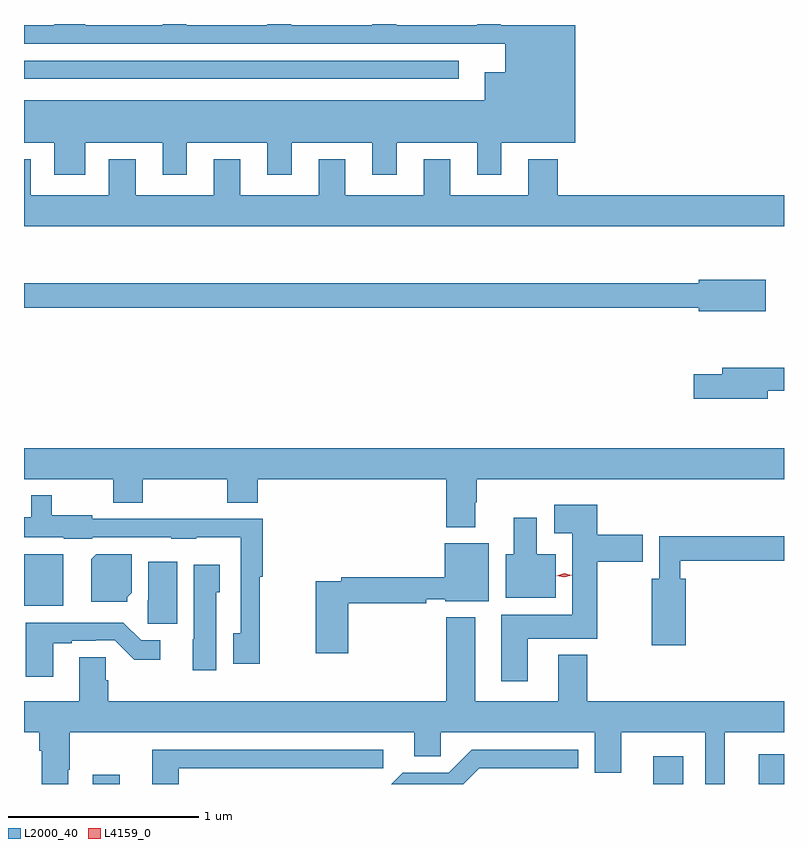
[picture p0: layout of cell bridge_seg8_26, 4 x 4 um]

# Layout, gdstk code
import gdstk
lib = gdstk.Library(unit=1e-6, precision=1e-09)
def R(c, l, rs):  # rectangles x0, y0, x1, y1
    for r in rs: c.add(gdstk.rectangle(r[:2], r[2:], *l))
def P(c, l, *ps):  # polygons
    for p in ps: c.add(gdstk.Polygon(p, *l))
L2000_40 = (2000, 40)
L4159_0 = (4159, 0)

bridge_seg8_26 = lib.new_cell('bridge_seg8_26')
R(bridge_seg8_26, L2000_40, [(887.447,1129.548,887.587,1129.597), (890.396,1129.548,890.554,1129.693), (890.951,1129.548,891.084,1129.705), (887.084,1130.486,887.29,1130.756), (887.084,1133.259,889.372,1133.355)])
P(bridge_seg8_26, L2000_40, [(887.407,1132.922),(887.813,1132.922),(887.813,1132.755),(887.941,1132.755),(887.941,1132.922),(888.365,1132.922),(888.365,1132.755),(888.493,1132.755),(888.493,1132.922),(888.917,1132.922),(888.917,1132.755),(889.045,1132.755),(889.045,1132.922),(889.469,1132.922),(889.469,1132.755),(889.597,1132.755),(889.597,1132.922),(889.984,1132.922),(889.984,1133.542),(889.594,1133.542),(889.594,1133.548),(889.469,1133.548),(889.469,1133.541),(889.042,1133.541),(889.042,1133.548),(888.917,1133.548),(888.917,1133.541),(888.49,1133.541),(888.49,1133.548),(888.365,1133.548),(888.365,1133.541),(887.938,1133.541),(887.938,1133.548),(887.813,1133.548),(887.813,1133.541),(887.407,1133.541),(887.407,1133.548),(887.243,1133.548),(887.243,1133.541),(887.084,1133.541),(887.084,1133.445),(889.616,1133.445),(889.616,1133.293),(889.508,1133.293),(889.508,1133.146),(887.084,1133.146),(887.084,1132.922),(887.243,1132.922),(887.243,1132.755),(887.407,1132.755)],
  [(891.084,1132.648),(889.892,1132.648),(889.892,1132.837),(889.739,1132.837),(889.739,1132.648),(889.327,1132.648),(889.327,1132.837),(889.187,1132.837),(889.187,1132.648),(888.775,1132.648),(888.775,1132.837),(888.635,1132.837),(888.635,1132.648),(888.223,1132.648),(888.223,1132.837),(888.083,1132.837),(888.083,1132.648),(887.671,1132.648),(887.671,1132.837),(887.531,1132.837),(887.531,1132.648),(887.119,1132.648),(887.119,1132.837),(887.084,1132.837),(887.084,1132.484),(891.084,1132.484)],
  [(890.989,1132.201),(890.636,1132.201),(890.636,1132.183),(887.084,1132.183),(887.084,1132.054),(890.636,1132.054),(890.636,1132.036),(890.989,1132.036)],
  [(890.998,1131.618),(891.084,1131.618),(891.084,1131.739),(890.759,1131.739),(890.759,1131.705),(890.61,1131.705),(890.61,1131.575),(890.998,1131.575)],
  [(889.459,1131.032),(889.467,1131.032),(889.467,1131.152),(891.084,1131.152),(891.084,1131.316),(887.084,1131.316),(887.084,1131.152),(887.554,1131.152),(887.554,1131.028),(887.709,1131.028),(887.709,1131.152),(888.154,1131.152),(888.154,1131.028),(888.314,1131.028),(888.314,1131.152),(889.307,1131.152),(889.307,1130.9),(889.459,1130.9)],
  [(888.326,1130.64),(888.341,1130.64),(888.341,1130.943),(888.091,1130.943),(888.091,1130.945),(887.859,1130.945),(887.859,1130.943),(887.442,1130.943),(887.442,1130.962),(887.23,1130.962),(887.23,1131.067),(887.121,1131.067),(887.121,1130.951),(887.084,1130.951),(887.084,1130.846),(887.292,1130.846),(887.292,1130.84),(887.442,1130.84),(887.442,1130.847),(887.859,1130.847),(887.859,1130.84),(887.991,1130.84),(887.991,1130.846),(888.225,1130.846),(888.225,1130.342),(888.185,1130.342),(888.185,1130.181),(888.326,1130.181)],
  [(889.735,1130.312),(890.1,1130.312),(890.1,1130.717),(890.341,1130.717),(890.341,1130.859),(890.1,1130.859),(890.1,1131.019),(889.875,1131.019),(889.875,1130.867),(889.97,1130.867),(889.97,1130.44),(889.595,1130.44),(889.595,1130.088),(889.735,1130.088)],
  [(889.882,1130.758),(889.783,1130.758),(889.783,1130.95),(889.661,1130.95),(889.661,1130.758),(889.619,1130.758),(889.619,1130.528),(889.882,1130.528)],
  [(890.567,1130.629),(890.539,1130.629),(890.539,1130.722),(891.084,1130.722),(891.084,1130.851),(890.427,1130.851),(890.427,1130.629),(890.389,1130.629),(890.389,1130.277),(890.567,1130.277)],
  [(888.791,1130.5),(889.202,1130.5),(889.202,1130.52),(889.302,1130.52),(889.302,1130.51),(889.531,1130.51),(889.531,1130.815),(889.298,1130.815),(889.298,1130.636),(888.754,1130.636),(888.754,1130.616),(888.62,1130.616),(888.62,1130.235),(888.791,1130.235)],
  [(887.628,1130.532),(887.65,1130.554),(887.65,1130.758),(887.464,1130.758),(887.438,1130.732),(887.438,1130.507),(887.628,1130.507)],
  [(887.89,1130.719),(887.738,1130.719),(887.738,1130.514),(887.734,1130.514),(887.734,1130.391),(887.89,1130.391)],
  [(888.097,1130.556),(888.115,1130.556),(888.115,1130.701),(887.978,1130.701),(887.978,1130.31),(887.972,1130.31),(887.972,1130.148),(888.097,1130.148)],
  [(887.317,1129.624),(887.325,1129.624),(887.325,1129.82),(889.139,1129.82),(889.139,1129.693),(889.278,1129.693),(889.278,1129.82),(890.087,1129.82),(890.087,1129.608),(890.227,1129.608),(890.227,1129.82),(890.669,1129.82),(890.669,1129.548),(890.773,1129.548),(890.773,1129.82),(891.084,1129.82),(891.084,1129.984),(890.048,1129.984),(890.048,1130.227),(889.895,1130.227),(889.895,1129.984),(889.459,1129.984),(889.459,1130.425),(889.307,1130.425),(889.307,1129.984),(887.528,1129.984),(887.528,1130.094),(887.514,1130.094),(887.514,1130.216),(887.375,1130.216),(887.375,1129.984),(887.084,1129.984),(887.084,1129.82),(887.165,1129.82),(887.165,1129.724),(887.177,1129.724),(887.177,1129.548),(887.317,1129.548)],
  [(887.239,1130.289),(887.335,1130.289),(887.335,1130.301),(887.462,1130.301),(887.462,1130.304),(887.562,1130.304),(887.665,1130.202),(887.8,1130.202),(887.8,1130.304),(887.7,1130.304),(887.606,1130.398),(887.092,1130.398),(887.092,1130.112),(887.239,1130.112)],
  [(889.479,1129.632),(890.002,1129.632),(890.002,1129.728),(889.44,1129.728),(889.32,1129.608),(889.077,1129.608),(889.017,1129.548),(889.395,1129.548)],
  [(887.899,1129.632),(888.976,1129.632),(888.976,1129.728),(887.759,1129.728),(887.759,1129.548),(887.899,1129.548)])
P(bridge_seg8_26, L4159_0, [(889.928,1130.636),(889.887,1130.644),(889.887,1130.644),(889.887,1130.645),(889.927,1130.656),(889.968,1130.647),(889.968,1130.647),(889.968,1130.646)])

lib.write_gds('bridge_seg8_26.gds')
